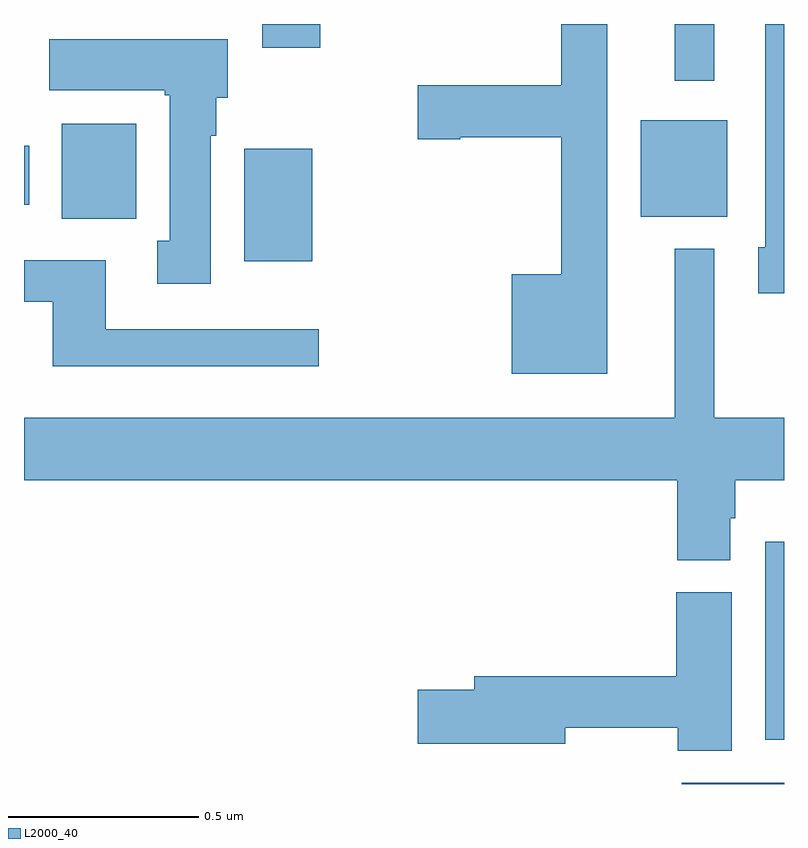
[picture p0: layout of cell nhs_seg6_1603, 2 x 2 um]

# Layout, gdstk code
import gdstk
lib = gdstk.Library(unit=1e-6, precision=1e-09)
def R(c, l, rs):  # rectangles x0, y0, x1, y1
    for r in rs: c.add(gdstk.rectangle(r[:2], r[2:], *l))
def P(c, l, *ps):  # polygons
    for p in ps: c.add(gdstk.Polygon(p, *l))
L2000_40 = (2000, 40)

nhs_seg6_1603 = lib.new_cell('nhs_seg6_1603')
R(nhs_seg6_1603, L2000_40, [(132.731,982.5,133,982.503), (132.95,982.616,133,983.137), (131.579,983.876,131.758,984.172), (131.099,983.988,131.295,984.238), (132.623,983.993,132.85,984.247), (131,984.024,131.014,984.18), (132.713,984.351,132.817,984.5), (131.627,984.438,131.78,984.5)])
P(nhs_seg6_1603, L2000_40, [(132.535,984.5),(132.414,984.5),(132.414,984.339),(132.036,984.339),(132.036,984.197),(132.148,984.197),(132.148,984.202),(132.414,984.202),(132.414,983.842),(132.284,983.842),(132.284,983.579),(132.535,983.579)],
  [(133,984.499),(132.95,984.499),(132.95,983.913),(132.932,983.913),(132.932,983.792),(133,983.792)],
  [(131.491,984.206),(131.506,984.206),(131.506,984.306),(131.536,984.306),(131.536,984.46),(131.067,984.46),(131.067,984.326),(131.371,984.326),(131.371,984.313),(131.384,984.313),(131.384,983.929),(131.351,983.929),(131.351,983.817),(131.491,983.817)],
  [(132.859,983.199),(132.872,983.199),(132.872,983.3),(133,983.3),(133,983.464),(132.817,983.464),(132.817,983.908),(132.713,983.908),(132.713,983.464),(131,983.464),(131,983.3),(132.719,983.3),(132.719,983.089),(132.859,983.089)],
  [(131.776,983.697),(131.215,983.697),(131.215,983.878),(131,983.878),(131,983.769),(131.075,983.769),(131.075,983.6),(131.776,983.6)],
  [(132.862,983.004),(132.716,983.004),(132.716,982.784),(132.185,982.784),(132.185,982.748),(132.036,982.748),(132.036,982.606),(132.424,982.606),(132.424,982.648),(132.721,982.648),(132.721,982.588),(132.862,982.588)])

lib.write_gds('nhs_seg6_1603.gds')
